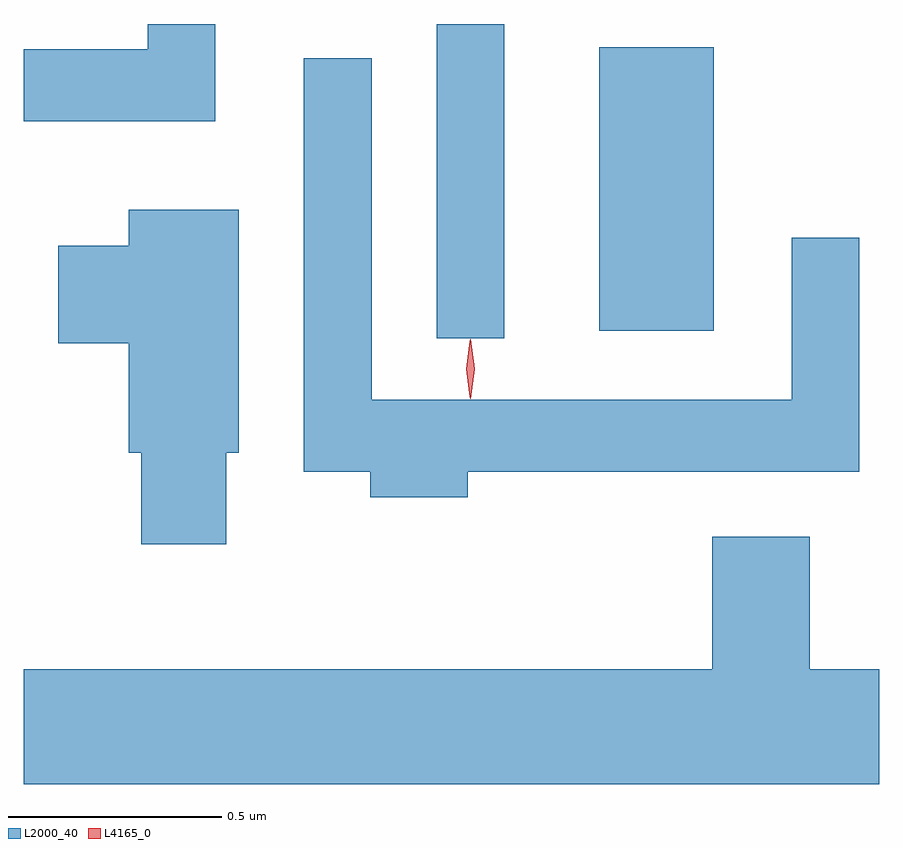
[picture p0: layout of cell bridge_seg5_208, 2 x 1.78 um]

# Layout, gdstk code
import gdstk
lib = gdstk.Library(unit=1e-6, precision=1e-09)
def R(c, l, rs):  # rectangles x0, y0, x1, y1
    for r in rs: c.add(gdstk.rectangle(r[:2], r[2:], *l))
def P(c, l, *ps):  # polygons
    for p in ps: c.add(gdstk.Polygon(p, *l))
L2000_40 = (2000, 40)
L4165_0 = (4165, 0)

bridge_seg5_208 = lib.new_cell('bridge_seg5_208')
R(bridge_seg5_208, L2000_40, [(1285.286,1420.098,1285.444,1420.833), (1285.666,1420.116,1285.934,1420.779)])
P(bridge_seg5_208, L2000_40, [(1284.769,1420.833),(1284.611,1420.833),(1284.611,1420.774),(1284.321,1420.774),(1284.321,1420.606),(1284.769,1420.606)],
  [(1285.359,1419.786),(1286.274,1419.786),(1286.274,1420.333),(1286.116,1420.333),(1286.116,1419.954),(1285.134,1419.954),(1285.134,1420.753),(1284.976,1420.753),(1284.976,1419.786),(1285.131,1419.786),(1285.131,1419.726),(1285.359,1419.726)],
  [(1284.794,1419.831),(1284.824,1419.831),(1284.824,1420.399),(1284.566,1420.399),(1284.566,1420.314),(1284.401,1420.314),(1284.401,1420.086),(1284.566,1420.086),(1284.566,1419.831),(1284.596,1419.831),(1284.596,1419.616),(1284.794,1419.616)],
  [(1286.321,1419.324),(1286.159,1419.324),(1286.159,1419.634),(1285.931,1419.634),(1285.931,1419.324),(1284.321,1419.324),(1284.321,1419.056),(1286.321,1419.056)])
P(bridge_seg5_208, L4165_0, [(1285.365,1419.959),(1285.364,1419.96),(1285.355,1420.026),(1285.364,1420.092),(1285.365,1420.093),(1285.366,1420.092),(1285.375,1420.026),(1285.366,1419.96)],
  [(1285.365,1419.957),(1285.365,1419.957),(1285.355,1420.027),(1285.365,1420.096),(1285.365,1420.096),(1285.366,1420.096),(1285.375,1420.027),(1285.366,1419.957)])

lib.write_gds('bridge_seg5_208.gds')
